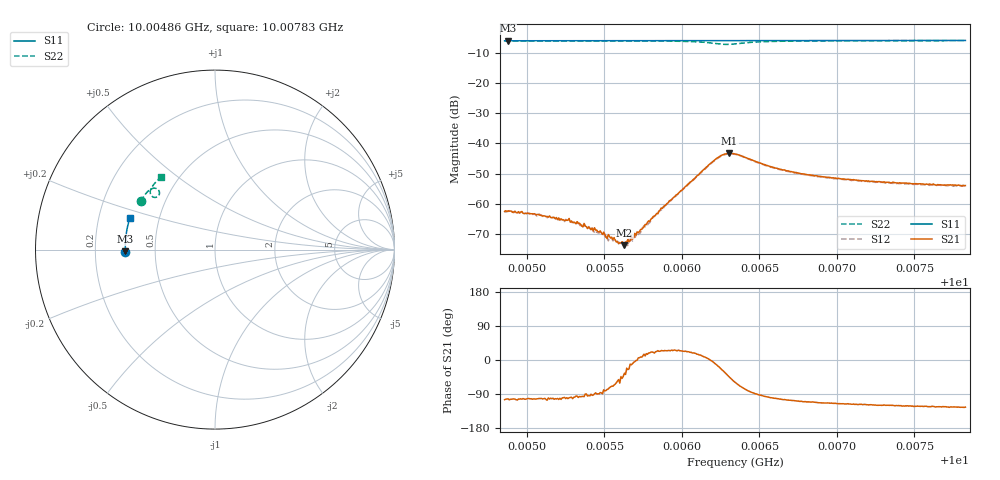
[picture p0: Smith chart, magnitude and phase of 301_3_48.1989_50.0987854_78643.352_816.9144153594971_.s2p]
#  HZ  S  RI  R  50.00
! Rohde & Schwarz Vector Network Analyzer
! Rohde-Schwarz,ZNB20-2Port,1311601062101988,3.16
! Created: UTC 3/20/2024, 11:49:35 AM
! freq[Hz]  re:S11  im:S11  re:S21  im:S21  re:S12  im:S12  re:S22  im:S22
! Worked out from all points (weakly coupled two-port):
!   401 points, 10.00486 GHz to 10.00783 GHz, reference 50 ohm
!   highest |S21| = -43.28 dB at 10.0063 GHz (marker M1); lowest = -73.7 dB at 10.00563 GHz (marker M2)
!   lowest |S11| = -6.0 dB at 10.00488 GHz (marker M3), VSWR 2.99, Z = 16.7 - j0.443 ohm
!   |S11| at or under -10 dB: nowhere
!   |S22| runs from -7.2 to -6.0 dB; largest |S21 - S12| = 0.0004
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1.0004856e10  -0.4992 -0.0113  -0.000188 -0.000721  -0.000144 -0.000725  -0.4142 0.2693
1.0004878e10  -0.4992 -0.00996  -0.000164 -0.000745  -0.000167 -0.000726  -0.4134 0.2707
1.0005086e10  -0.4998 0.00359  -0.000131 -0.00063  -0.000127 -0.000643  -0.406 0.2831
1.0005265e10  -0.4999 0.0151  -0.000109 -0.000522  -7.41e-05 -0.000517  -0.399 0.2936
1.0005354e10  -0.4998 0.0209  -4.84e-05 -0.000424  -6.59e-05 -0.000437  -0.3952 0.299
1.0005398e10  -0.4998 0.0239  -2.98e-05 -0.000412  1.41e-05 -0.000418  -0.3931 0.3017
1.0005443e10  -0.4998 0.0267  2.13e-05 -0.000365  7.17e-06 -0.000321  -0.391 0.3044
1.0005487e10  -0.4996 0.0296  5.14e-06 -0.00031  5.64e-05 -0.000314  -0.3889 0.3071
1.0005517e10  -0.4997 0.0315  5.63e-05 -0.000258  7.27e-05 -0.000272  -0.3876 0.3088
1.0005591e10  -0.4995 0.0364  0.000135 -0.000171  0.000131 -0.000189  -0.384 0.3135
1.0005629e10  -0.4995 0.0388  0.00017 -0.000118  0.000188 -0.000113  -0.3819 0.3158
1.0005666e10  -0.4992 0.0411  0.000241 -4.68e-05  0.000236 -4.52e-05  -0.3799 0.3183
1.000571e10  -0.4991 0.044  0.000342 -5.47e-06  0.00034 1e-05  -0.3772 0.321
1.0005852e10  -0.4984 0.0533  0.000695 0.000293  0.000683 0.000311  -0.3674 0.3302
1.0006208e10  -0.4957 0.0761  0.0052 -0.000718  0.0051 -0.000452  -0.3122 0.328
1.000626e10  -0.4951 0.0793  0.00574 -0.00287  0.00573 -0.00251  -0.3101 0.3087
1.0006305e10  -0.4948 0.082  0.00487 -0.00482  0.00497 -0.00449  -0.3206 0.2944
1.0006342e10  -0.4946 0.0841  0.00346 -0.0057  0.00367 -0.00545  -0.3346 0.2906
1.0006617e10  -0.4924 0.1018  -0.000791 -0.00375  -0.000652 -0.00367  -0.359 0.3321
1.000684e10  -0.4899 0.116  -0.00104 -0.00277  -0.000927 -0.00276  -0.3492 0.3524
1.0007338e10  -0.4823 0.1473  -0.00112 -0.00196  -0.001 -0.00196  -0.3244 0.3817
1.0007828e10  -0.473 0.1773  -0.00113 -0.00165  -0.00102 -0.00163  -0.2994 0.4046
